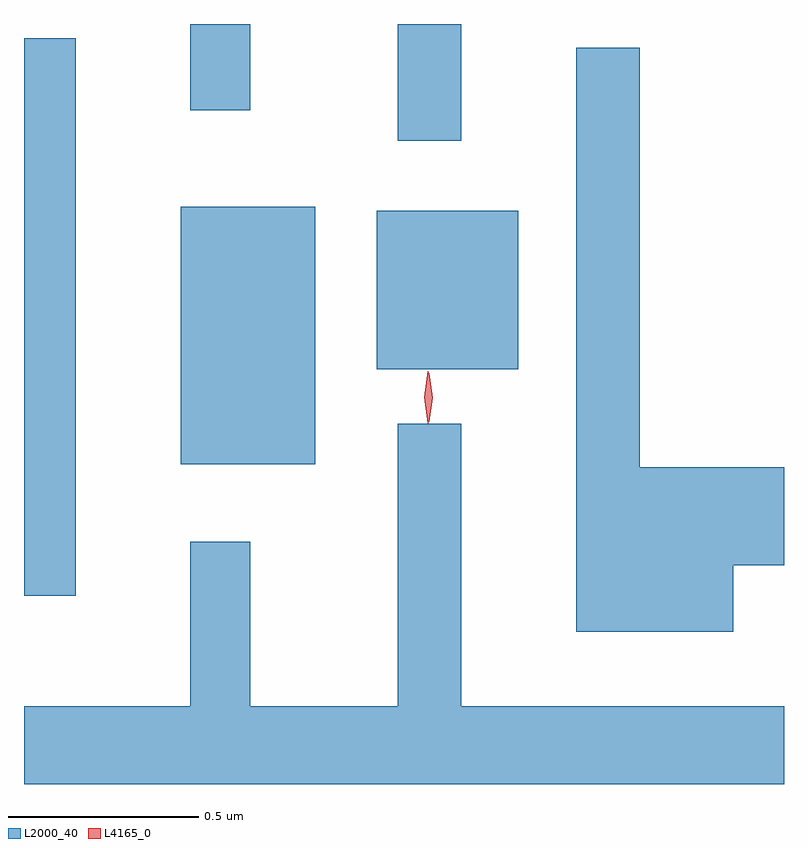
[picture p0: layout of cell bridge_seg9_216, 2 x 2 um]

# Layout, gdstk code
import gdstk
lib = gdstk.Library(unit=1e-6, precision=1e-09)
def R(c, l, rs):  # rectangles x0, y0, x1, y1
    for r in rs: c.add(gdstk.rectangle(r[:2], r[2:], *l))
def P(c, l, *ps):  # polygons
    for p in ps: c.add(gdstk.Polygon(p, *l))
L2000_40 = (2000, 40)
L4165_0 = (4165, 0)

bridge_seg9_216 = lib.new_cell('bridge_seg9_216')
R(bridge_seg9_216, L2000_40, [(1124.568,1959.076,1124.704,1960.543), (1124.981,1959.421,1125.334,1960.099), (1125.496,1959.671,1125.869,1960.089), (1125.551,1960.273,1125.719,1960.58), (1125.006,1960.353,1125.164,1960.58)])
P(bridge_seg9_216, L2000_40, [(1126.434,1959.156),(1126.568,1959.156),(1126.568,1959.414),(1126.189,1959.414),(1126.189,1960.518),(1126.021,1960.518),(1126.021,1958.981),(1126.434,1958.981)],
  [(1126.568,1958.784),(1125.719,1958.784),(1125.719,1959.528),(1125.551,1959.528),(1125.551,1958.784),(1125.164,1958.784),(1125.164,1959.218),(1125.006,1959.218),(1125.006,1958.784),(1124.568,1958.784),(1124.568,1958.58),(1126.568,1958.58)])
P(bridge_seg9_216, L4165_0, [(1125.631,1959.529),(1125.631,1959.53),(1125.621,1959.598),(1125.631,1959.666),(1125.631,1959.666),(1125.632,1959.666),(1125.641,1959.598),(1125.632,1959.53)],
  [(1125.633,1959.533),(1125.633,1959.533),(1125.623,1959.597),(1125.633,1959.661),(1125.633,1959.662),(1125.634,1959.661),(1125.643,1959.597),(1125.634,1959.533)])

lib.write_gds('bridge_seg9_216.gds')
